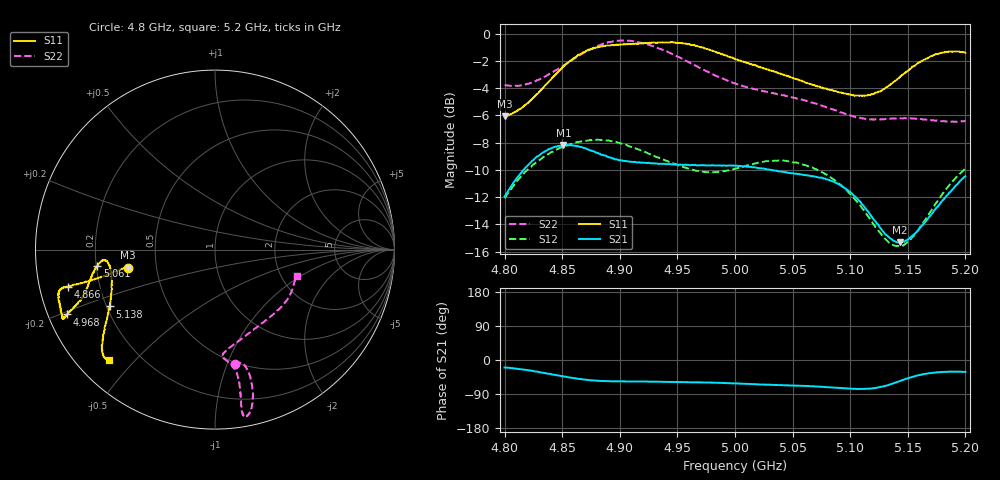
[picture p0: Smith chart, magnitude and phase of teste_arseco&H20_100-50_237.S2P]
! Network Analyzer HP8722D
! Hewlett-Packard
! Data name: Linha & Wilkinson
! Saver's name: Rodrigo Anjos
! Comments: Teste da utilização de aquisição
! continua pelo VNA HP8722D
! Time and date: 6/5/2025 14:32
!  Frequency  S11  S21  S12  S22
# HZ  S  MA R 50
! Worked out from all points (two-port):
!   401 points, 4.8 GHz to 5.2 GHz, reference 50 ohm
!   highest |S21| = -8.16 dB at 4.851 GHz (marker M1); lowest = -15.3 dB at 5.143 GHz (marker M2)
!   |S21| within 3 dB of the highest: 4.806 GHz to 5.092 GHz (286 MHz wide, 5.78 % of centre); 5.191595 GHz to end of sweep
!   lowest |S11| = -6.1 dB at 4.8 GHz (marker M3), VSWR 2.98, Z = 17 - j4.55 ohm
!   |S11| at or under -10 dB: nowhere
!   |S22| runs from -6.5 to -0.5 dB; largest |S21 - S12| = 0.62
!   S11 on the Smith chart (normalised r, x): 4.8 GHz: 0.34, -0.09; 4.866 GHz: 0.09, -0.12; 4.968 GHz: 0.06, -0.21; 5.061 GHz: 0.20, -0.07; 5.138 GHz: 0.21, -0.24; 5.2 GHz: 0.09, -0.42
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4.8e9  0.4969 -168.3  0.2527 -19.8  0.2487 -140.9  0.6477 -80.3
4.823e9  0.5702 -167.6  0.338 -28.2  0.3244 -143.9  0.6599 -76.0
4.851e9  0.756 -165.9  0.3908 -43.4  0.3844 -149.4  0.7644 -74.6
4.866e9  0.8428 -165.9  0.3838 -50.4  0.4019 -151.9  0.8375 -75.3
4.867e9  0.8475 -165.9  0.3831 -50.8  0.4029 -152.1  0.8428 -75.5
4.898e9  0.9106 -163.0  0.345 -56.3  0.3984 -156.5  0.9422 -78.9
4.913e9  0.9183 -159.8  0.3387 -56.5  0.3814 -157.0  0.936 -80.2
4.934e9  0.9293 -156.5  0.3326 -57.5  0.3509 -155.8  0.883 -80.5
4.968e9  0.8987 -156.3  0.3288 -59.2  0.3137 -147.6  0.755 -79.6
5e9  0.8081 -159.0  0.3276 -61.9  0.3193 -137.3  0.6566 -81.4
5.038e9  0.7158 -166.1  0.3122 -66.2  0.3424 -134.5  0.5997 -85.8
5.061e9  0.6621 -171.9  0.3028 -68.5  0.3293 -136.4  0.5695 -83.9
5.067e9  0.6504 -173.1  0.2998 -69.1  0.3229 -136.9  0.5586 -82.6
5.087e9  0.6159 -174.5  0.2843 -73.2  0.2888 -138.6  0.5243 -74.9
5.103e9  0.5951 -171.4  0.2544 -76.1  0.2498 -138.8  0.497 -65.3
5.117e9  0.5949 -164.8  0.2179 -75.5  0.209 -135.0  0.485 -55.2
5.134e9  0.6466 -154.2  0.1784 -65.2  0.1703 -120.5  0.4874 -43.3
5.138e9  0.6664 -151.6  0.1733 -61.0  0.167 -115.5  0.488 -40.8
5.143e9  0.6927 -149.3  0.1711 -55.8  0.166 -108.9  0.4891 -37.9
5.154e9  0.7573 -144.5  0.1812 -44.4  0.1794 -95.1  0.4883 -32.4
5.173e9  0.8355 -139.0  0.2247 -33.4  0.2335 -80.9  0.4808 -24.3
5.2e9  0.8512 -133.8  0.2997 -31.4  0.3195 -77.0  0.478 -17.6
